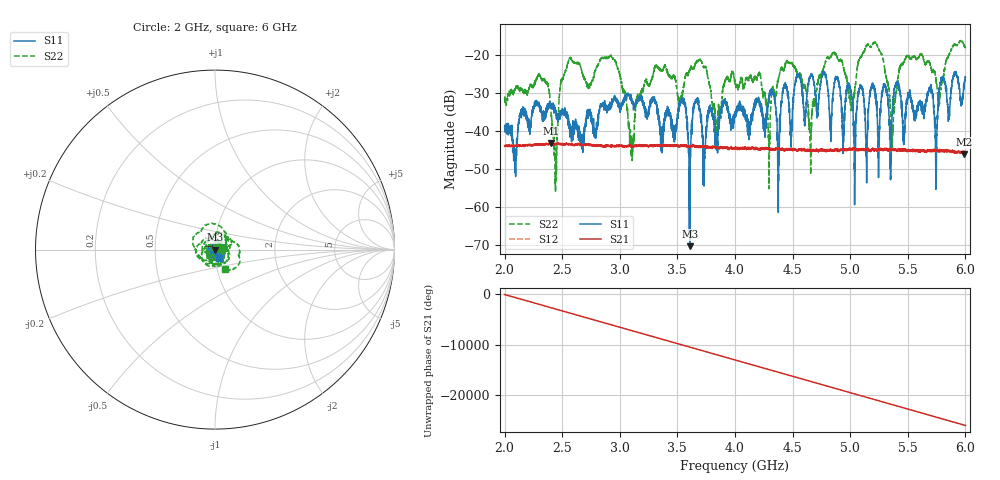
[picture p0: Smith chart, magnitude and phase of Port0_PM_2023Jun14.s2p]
!Keysight Technologies,E5080B,MY59202615,A.15.10.08
!Date: Wednesday, June 14, 2023 09:07:36
!Correction: S11(C  2-Port  )
!S21(C  2-Port  )
!S12(C  2-Port  )
!S22(C  2-Port  )
!S2P File: Measurements: S11, S21, S12, S22:
# Hz S  dB  R 50
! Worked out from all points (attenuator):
!   4001 points, 2 GHz to 6 GHz, reference 50 ohm
!   highest |S21| = -43.10 dB at 2.405 GHz (marker M1); lowest = -46.1 dB at 5.989 GHz (marker M2)
!   lowest |S11| = -70.3 dB at 3.608 GHz (marker M3), VSWR 1.00, Z = 50 - j0.00164 ohm
!   |S11| at or under -10 dB: start of sweep to end of sweep
!   |S22| runs from -56.1 to -16.1 dB; largest |S21 - S12| = 0.00045
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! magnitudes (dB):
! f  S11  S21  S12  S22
! 2 GHz  -38.8  -43.9  -43.9  -31.6
! 2.405 GHz  -33.5  -43.1  -43.5  -36.1
! 2.442 GHz  -34.7  -43.3  -43.4  -56.1
! 2.504 GHz  -35.2  -43.4  -43.5  -26.4
! 2.667 GHz  -44.1  -43.7  -43.6  -23.7
! 2.947 GHz  -31.1  -44.0  -43.9  -21.2
! 3.104 GHz  -32.6  -44.1  -44.1  -44.3
! 3.334 GHz  -34.2  -43.7  -43.7  -23.3
! 3.549 GHz  -32.3  -43.8  -43.8  -29.3
! 3.608 GHz  -70.3  -43.8  -43.9  -24.0
! 3.664 GHz  -31.7  -44.1  -44.3  -21.7
! 3.836 GHz  -41.6  -44.2  -44.3  -43.8
! 4 GHz  -35.3  -44.5  -44.7  -27.4
! 4.291 GHz  -31.3  -44.8  -44.7  -40.5
! 4.475 GHz  -35.9  -44.9  -45.0  -22.2
! 4.667 GHz  -25.1  -45.3  -45.2  -34.6
! 4.855 GHz  -29.0  -45.0  -45.1  -19.4
! 5.012 GHz  -30.6  -44.9  -44.7  -33.6
! 5.218 GHz  -29.4  -45.0  -44.9  -16.8
! 5.334 GHz  -33.6  -44.7  -45.3  -28.6
! 5.989 GHz  -27.4  -46.1  -45.8  -17.5
! 6 GHz  -25.8  -45.7  -45.7  -18.2
